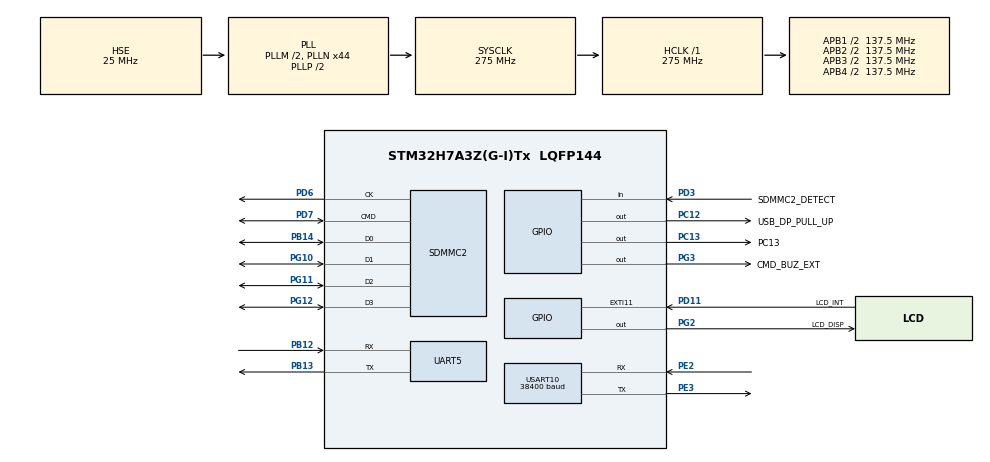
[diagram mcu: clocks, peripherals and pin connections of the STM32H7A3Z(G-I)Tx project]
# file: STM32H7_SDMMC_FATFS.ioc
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Mcu.Family=STM32H7
PD7.Mode=SD_4_bits_Wide_bus
PH0-OSC_IN.Signal=RCC_OSC_IN
VP_SYS_VS_tim6.Mode=TIM6
CORTEX_M7.DisableExec-Cortex_Memory_Protection_Unit_Region4_Settings=MPU_INSTRUCTION_ACCESS_DISABLE
RCC.CortexFreq_Value=275000000
FREERTOS.BinarySemaphores01=myBinarySemAnalog,Dynamic,NULL
FATFS0.BSP.api=Unknown
CORTEX_M7.BaseAddress-Cortex_Memory_Protection_Unit_Region3_Settings=0xC0000000
NVIC.TIM6_DAC_IRQn=true\:0\:0\:false\:false\:true\:false\:false\:true
VP_FATFS_VS_SDIO.Mode=SDIO
PG2.Signal=GPIO_Output
STMicroelectronics.X-CUBE-TOUCHGFX.4.16.1.tgfx_buffering_strategy=Double
PC12.Signal=GPIO_Output
RCC.PLLFRACN=0
CORTEX_M7.AccessPermission-Cortex_Memory_Protection_Unit_Region2_Settings=MPU_REGION_FULL_ACCESS
PC13.GPIO_Label=PC13
PB13.Signal=UART5_TX
PG10.GPIO_PuPd=GPIO_NOPULL
STMicroelectronics.X-CUBE-TOUCHGFX.4.16.1.tgfx_location=By Address
PG11.Signal=SDMMC2_D2
RCC.SYSCLKSource=RCC_SYSCLKSOURCE_PLLCLK
ProjectManager.StackSize=0x1000
VP_FREERTOS_VS_CMSIS_V2.Mode=CMSIS_V2
NVIC.UART5_IRQn=true\:5\:0\:false\:false\:true\:true\:true\:true
PD11.GPIO_PuPd=GPIO_PULLUP
USART10.ClockPrescaler=PRESCALER_DIV1
PD7.GPIO_PuPd=GPIO_NOPULL
PG11.GPIO_PuPd=GPIO_NOPULL
PD11.GPIO_Label=LCD_INT
RCC.HCLKFreq_Value=275000000
PE2.Mode=Asynchronous
PH0-OSC_IN.Mode=HSE-External-Oscillator
FATFS0.BSP.ip=GPIO
NVIC.EXTI15_10_IRQn=true\:5\:0\:false\:false\:true\:true\:true\:true
RCC.HSE_VALUE=25000000
PB3.Mode=JTAG_5_pins
CORTEX_M7.Size-Cortex_Memory_Protection_Unit_Region2_Settings=MPU_REGION_SIZE_128MB
FATFS0.BSP.i2caddr=0
RCC.DIVM3=2
RCC.DIVM2=2
PA15.Mode=JTAG_5_pins
RCC.DIVM1=2
CORTEX_M7.IsCacheable-Cortex_Memory_Protection_Unit_Region2_Settings=MPU_ACCESS_CACHEABLE
PB4.Mode=JTAG_5_pins
PC14-OSC32_IN.Mode=LSE-External-Oscillator
PA14.Mode=JTAG_5_pins
PB14.Mode=SD_4_bits_Wide_bus
STMicroelectronics.X-CUBE-TOUCHGFX.4.16.1.tgfx_display_interface=disp_ltdc
NVIC.USART10_IRQn=true\:5\:0\:false\:false\:true\:true\:true\:true
PE2.Signal=USART10_RX
RCC.PLL2_VCO_SEL-AdvancedSettings=RCC_PLL2VCOMEDIUM
CORTEX_M7.Size-Cortex_Memory_Protection_Unit_Region4_Settings=MPU_REGION_SIZE_16MB
USART10.VirtualMode-Asynchronous=VM_ASYNC
FREERTOS.configTOTAL_HEAP_SIZE=32768
PD11.GPIO_ModeDefaultEXTI=GPIO_MODE_IT_FALLING
CORTEX_M7.DisableExec-Cortex_Memory_Protection_Unit_Region1_Settings=MPU_INSTRUCTION_ACCESS_DISABLE
RCC.APB3Freq_Value=137500000
PH1-OSC_OUT.Mode=HSE-External-Oscillator
Mcu.Package=LQFP144
PB14.GPIO_PuPd=GPIO_NOPULL
PB12.Mode=Asynchronous
NVIC.TimeBase=TIM6_DAC_IRQn
RCC.PLL3FRACN=0
RCC.SDMMC1CLockSelection=RCC_SDMMCCLKSOURCE_PLL2
CORTEX_M7.BaseAddress-Cortex_Memory_Protection_Unit_Region1_Settings=0x90000000
FATFS0.BSP.solution=PD3
STMicroelectronics.X-CUBE-TOUCHGFX.4.16.1.ApplicationCcGraphicsJjApplication=TouchGFXOoGenerator
NVIC.TimeBaseIP=TIM6
PA15.Signal=DEBUG_JTDI
CORTEX_M7.BaseAddress-Cortex_Memory_Protection_Unit_Region4_Settings=0xC0000000
CORTEX_M7.Size-Cortex_Memory_Protection_Unit_Region1_Settings=MPU_REGION_SIZE_1GB
RCC.APB4Freq_Value=137500000
PG12.GPIO_PuPd=GPIO_NOPULL
CORTEX_M7.Enable-Cortex_Memory_Protection_Unit_Region1_Settings=MPU_REGION_ENABLE
PD3.GPIO_Label=SDMMC2_DETECT
PB13.Mode=Asynchronous
PD6.Signal=SDMMC2_CK
USART10.TxPinLevelInvertParam=ADVFEATURE_TXINV_DISABLE
PE3.Mode=Asynchronous
RCC.SRDPPRE=RCC_APB4_DIV2
RCC.SupplySource=PWR_LDO_SUPPLY
STMicroelectronics.X-CUBE-TOUCHGFX.4.16.1.tgfx_vsync=vsync_ltdc
PB4.Signal=DEBUG_JTRST
PG2.GPIO_Label=LCD_DISP
PG12.Signal=SDMMC2_D3
RCC.PLLSourceVirtual=RCC_PLLSOURCE_HSE
PC15-OSC32_OUT.Mode=LSE-External-Oscillator
FATFS0.BSP.STBoard=false
STMicroelectronics.X-CUBE-TOUCHGFX.4.16.1.tgfx_custom_height=480
CORTEX_M7.CPU_ICache=Enabled
FREERTOS.Tasks01=TouchGFXTask,24,4096,TouchGFX_Task,As weak,NULL,Dynamic,NULL,NULL;taskAnalogInput,24,128,StartTaskAnalogInput,Default,NULL,Dynamic,NULL,NULL;taskUSB,24,128,StartTaskUSB,Default,NULL,Dynamic,NULL,NULL;SDMMCTask,8,1024,StartTaskSDMMC,Default,NULL,Dynamic,NULL,NULL
STMicroelectronics.X-CUBE-TOUCHGFX.4.16.1.tgfx_address1=0xC0000000
STMicroelectronics.X-CUBE-TOUCHGFX.4.16.1.tgfx_address2=0xC0119400
PG3.Signal=GPIO_Output
PC13.Signal=GPIO_Output
FATFS0.BSP.mode=Input
CORTEX_M7.IsBufferable-Cortex_Memory_Protection_Unit_Region2_Settings=MPU_ACCESS_BUFFERABLE
PD3.Signal=GPIO_Input
CORTEX_M7.Enable-Cortex_Memory_Protection_Unit_Region4_Settings=MPU_REGION_ENABLE
PG10.Mode=SD_4_bits_Wide_bus
PD7.Signal=SDMMC2_CMD
USART10.RxPinLevelInvertParam=ADVFEATURE_RXINV_DISABLE
PC14-OSC32_IN.Signal=RCC_OSC32_IN
PD6.Mode=SD_4_bits_Wide_bus
CORTEX_M7.BaseAddress-Cortex_Memory_Protection_Unit_Region2_Settings=0x90000000
PG10.Signal=SDMMC2_D1
FATFS0.BSP.instance=PD3
PA13.Signal=DEBUG_JTMS-SWDIO
CORTEX_M7.MPU_Control=MPU_PRIVILEGED_DEFAULT
PG2.PinState=GPIO_PIN_SET
RCC.CDPPRE1=RCC_APB1_DIV2
RCC.CDPPRE2=RCC_APB2_DIV2
CORTEX_M7.IsBufferable-Cortex_Memory_Protection_Unit_Region4_Settings=MPU_ACCESS_BUFFERABLE
STMicroelectronics.X-CUBE-TOUCHGFX.4.16.1.tgfx_hardware_accelerator=dma_2d
ProjectManager.TargetToolchain=STM32CubeIDE
USART10.FIFOMode=FIFOMODE_DISABLE
RCC.DIVN3=44
RCC.DIVN2=16
RCC.DIVN1=44
CORTEX_M7.DisableExec-Cortex_Memory_Protection_Unit_Region3_Settings=MPU_INSTRUCTION_ACCESS_DISABLE
RCC.USBFreq_Value=48000000
PC15-OSC32_OUT.Signal=RCC_OSC32_OUT
PB14.Signal=SDMMC2_D0
FATFS.BSP.number=1
RCC.USBCLockSelection=RCC_USBCLKSOURCE_HSI48
PE2.GPIO_PuPd=GPIO_PULLUP
CORTEX_M7.Enable-Cortex_Memory_Protection_Unit_Region2_Settings=MPU_REGION_ENABLE
board=custom
PG12.Mode=SD_4_bits_Wide_bus
RCC.APB2Freq_Value=137500000
USART10.BaudRate=38400
RCC.FMCCLockSelection=RCC_FMCCLKSOURCE_PLL2
RCC.ADCFreq_Value=100000000
PH1-OSC_OUT.Signal=RCC_OSC_OUT
PE3.GPIO_PuPd=GPIO_PULLUP
RCC.CDPPRE=RCC_APB3_DIV2
PA13.Mode=JTAG_5_pins
Mcu.Name=STM32H7A3Z(G-I)Tx
SDMMC2.ClockDiv=8
USART10.MSBFirstParam=ADVFEATURE_MSBFIRST_DISABLE
FATFS._MAX_SS=4096
PB3.Signal=DEBUG_JTDO-SWO
RCC.SYSCLKFreq_VALUE=275000000
NVIC.SDMMC2_IRQn=true\:5\:0\:false\:false\:true\:true\:true\:true
PD11.Signal=GPXTI11
PC12.GPIO_Label=USB_DP_PULL_UP
RCC.QSPICLockSelection=RCC_OSPICLKSOURCE_PLL2
PG11.Mode=SD_4_bits_Wide_bus
PA14.Signal=DEBUG_JTCK-SWCLK
ProjectManager.HeapSize=0x1000
CORTEX_M7.Enable-Cortex_Memory_Protection_Unit_Region3_Settings=MPU_REGION_ENABLE
CORTEX_M7.Size-Cortex_Memory_Protection_Unit_Region3_Settings=MPU_REGION_SIZE_512MB
CORTEX_M7.DisableExec-Cortex_Memory_Protection_Unit_Region2_Settings=MPU_INSTRUCTION_ACCESS_DISABLE
NVIC.PriorityGroup=NVIC_PRIORITYGROUP_4
RCC.USART234578CLockSelection=RCC_USART234578CLKSOURCE_PLL2
PE3.Signal=USART10_TX
CORTEX_M7.CPU_DCache=Enabled
PG3.GPIO_Label=CMD_BUZ_EXT
RCC.DIVR3=20
RCC.APB1Freq_Value=137500000
RCC.DIVR2=1
VP_CRC_VS_CRC.Mode=CRC_Activate
CORTEX_M7.AccessPermission-Cortex_Memory_Protection_Unit_Region4_Settings=MPU_REGION_FULL_ACCESS
RCC.USART16CLockSelection=RCC_USART16910CLKSOURCE_PLL2
PB12.Signal=UART5_RX
FATFS0.BSP.name=Detect_SDIO
CORTEX_M7.IsCacheable-Cortex_Memory_Protection_Unit_Region4_Settings=MPU_ACCESS_CACHEABLE

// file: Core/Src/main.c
/* USER CODE BEGIN Header */
/**
  ******************************************************************************
  * @file           : main.c
  * @brief          : Main program body
  ******************************************************************************
  * @attention
  *
  * <h2><center>&copy; Copyright (c) 2021 STMicroelectronics.
  * All rights reserved.</center></h2>
  *
  * This software component is licensed by ST under Ultimate Liberty license
  * SLA0044, the "License"; You may not use this file except in compliance with
  * the License. You may obtain a copy of the License at:
  *                             www.st.com/SLA0044
  *
  ******************************************************************************
  */
/* USER CODE END Header */
#include "main.h"
#include "cmsis_os.h"
#include "fatfs.h"

CRC_HandleTypeDef hcrc;

SD_HandleTypeDef hsd2;

UART_HandleTypeDef huart5;
UART_HandleTypeDef huart10;

/* Definitions for TouchGFXTask */
osThreadId_t TouchGFXTaskHandle;
const osThreadAttr_t TouchGFXTask_attributes = {
  .name = "TouchGFXTask",
  .stack_size = 4096 * 4,
  .priority = (osPriority_t) osPriorityNormal,
};
/* Definitions for taskAnalogInput */
osThreadId_t taskAnalogInputHandle;
const osThreadAttr_t taskAnalogInput_attributes = {
  .name = "taskAnalogInput",
  .stack_size = 128 * 4,
  .priority = (osPriority_t) osPriorityNormal,
};
/* Definitions for taskUSB */
osThreadId_t taskUSBHandle;
const osThreadAttr_t taskUSB_attributes = {
  .name = "taskUSB",
  .stack_size = 128 * 4,
  .priority = (osPriority_t) osPriorityNormal,
};
/* Definitions for SDMMCTask */
osThreadId_t SDMMCTaskHandle;
const osThreadAttr_t SDMMCTask_attributes = {
  .name = "SDMMCTask",
  .stack_size = 1024 * 4,
  .priority = (osPriority_t) osPriorityLow,
};
/* Definitions for myBinarySemAnalog */
osSemaphoreId_t myBinarySemAnalogHandle;
const osSemaphoreAttr_t myBinarySemAnalog_attributes = {
  .name = "myBinarySemAnalog"
};

void SystemClock_Config(void);
void PeriphCommonClock_Config(void);
static void MPU_Config(void);
static void MX_GPIO_Init(void);
static void MX_CRC_Init(void);
static void MX_UART5_Init(void);
static void MX_USART10_UART_Init(void);
static void MX_SDMMC2_SD_Init(void);
void TouchGFX_Task(void *argument);
void StartTaskAnalogInput(void *argument);
void StartTaskUSB(void *argument);
void StartTaskSDMMC(void *argument);

int main(void)
{

  /* MPU Configuration--------------------------------------------------------*/
  MPU_Config();

  /* Enable I-Cache---------------------------------------------------------*/
  SCB_EnableICache();

  /* Enable D-Cache---------------------------------------------------------*/
  SCB_EnableDCache();

  /* MCU Configuration--------------------------------------------------------*/

  /* Reset of all peripherals, Initializes the Flash interface and the Systick. */
  HAL_Init();

  /* Configure the system clock */
  SystemClock_Config();

/* Configure the peripherals common clocks */
  PeriphCommonClock_Config();

  /* Initialize all configured peripherals */
  MX_GPIO_Init();
  MX_CRC_Init();
  MX_UART5_Init();
  MX_USART10_UART_Init();
  MX_SDMMC2_SD_Init();
  MX_FATFS_Init();

  /* Init scheduler */
  osKernelInitialize();

  /* Create the semaphores(s) */
  /* creation of myBinarySemAnalog */
  myBinarySemAnalogHandle = osSemaphoreNew(1, 1, &myBinarySemAnalog_attributes);

  /* Create the thread(s) */
  /* creation of TouchGFXTask */
  TouchGFXTaskHandle = osThreadNew(TouchGFX_Task, NULL, &TouchGFXTask_attributes);

  /* creation of taskAnalogInput */
  taskAnalogInputHandle = osThreadNew(StartTaskAnalogInput, NULL, &taskAnalogInput_attributes);

  /* creation of taskUSB */
  taskUSBHandle = osThreadNew(StartTaskUSB, NULL, &taskUSB_attributes);

  /* creation of SDMMCTask */
  SDMMCTaskHandle = osThreadNew(StartTaskSDMMC, NULL, &SDMMCTask_attributes);

  /* Start scheduler */
  osKernelStart();

  /* We should never get here as control is now taken by the scheduler */
  /* Infinite loop */
  while (1)
  {

  }
}

void SystemClock_Config(void)
{
  RCC_OscInitTypeDef RCC_OscInitStruct = {0};
  RCC_ClkInitTypeDef RCC_ClkInitStruct = {0};

  /** Supply configuration update enable
  */
  HAL_PWREx_ConfigSupply(PWR_LDO_SUPPLY);
  /** Configure the main internal regulator output voltage
  */
  __HAL_PWR_VOLTAGESCALING_CONFIG(PWR_REGULATOR_VOLTAGE_SCALE0);

  while(!__HAL_PWR_GET_FLAG(PWR_FLAG_VOSRDY)) {}
  /** Macro to configure the PLL clock source
  */
  __HAL_RCC_PLL_PLLSOURCE_CONFIG(RCC_PLLSOURCE_HSE);
  /** Initializes the RCC Oscillators according to the specified parameters
  * in the RCC_OscInitTypeDef structure.
  */
  RCC_OscInitStruct.OscillatorType = RCC_OSCILLATORTYPE_HSE;
  RCC_OscInitStruct.HSEState = RCC_HSE_ON;
  RCC_OscInitStruct.PLL.PLLState = RCC_PLL_ON;
  RCC_OscInitStruct.PLL.PLLSource = RCC_PLLSOURCE_HSE;
  RCC_OscInitStruct.PLL.PLLM = 2;
  RCC_OscInitStruct.PLL.PLLN = 44;
  RCC_OscInitStruct.PLL.PLLP = 2;
  RCC_OscInitStruct.PLL.PLLQ = 2;
  RCC_OscInitStruct.PLL.PLLR = 2;
  RCC_OscInitStruct.PLL.PLLRGE = RCC_PLL1VCIRANGE_3;
  RCC_OscInitStruct.PLL.PLLVCOSEL = RCC_PLL1VCOWIDE;
  RCC_OscInitStruct.PLL.PLLFRACN = 0;
  if (HAL_RCC_OscConfig(&RCC_OscInitStruct) != HAL_OK)
  {
    Error_Handler();
  }
  /** Initializes the CPU, AHB and APB buses clocks
  */
  RCC_ClkInitStruct.ClockType = RCC_CLOCKTYPE_HCLK|RCC_CLOCKTYPE_SYSCLK
                              |RCC_CLOCKTYPE_PCLK1|RCC_CLOCKTYPE_PCLK2
                              |RCC_CLOCKTYPE_D3PCLK1|RCC_CLOCKTYPE_D1PCLK1;
  RCC_ClkInitStruct.SYSCLKSource = RCC_SYSCLKSOURCE_PLLCLK;
  RCC_ClkInitStruct.SYSCLKDivider = RCC_SYSCLK_DIV1;
  RCC_ClkInitStruct.AHBCLKDivider = RCC_HCLK_DIV1;
  RCC_ClkInitStruct.APB3CLKDivider = RCC_APB3_DIV2;
  RCC_ClkInitStruct.APB1CLKDivider = RCC_APB1_DIV2;
  RCC_ClkInitStruct.APB2CLKDivider = RCC_APB2_DIV2;
  RCC_ClkInitStruct.APB4CLKDivider = RCC_APB4_DIV2;

  if (HAL_RCC_ClockConfig(&RCC_ClkInitStruct, FLASH_LATENCY_7) != HAL_OK)
  {
    Error_Handler();
  }
}

void PeriphCommonClock_Config(void)
{
  RCC_PeriphCLKInitTypeDef PeriphClkInitStruct = {0};

  /** Initializes the peripherals clock
  */
  PeriphClkInitStruct.PeriphClockSelection = RCC_PERIPHCLK_SDMMC|RCC_PERIPHCLK_UART5
                              |RCC_PERIPHCLK_USART10;
  PeriphClkInitStruct.PLL2.PLL2M = 2;
  PeriphClkInitStruct.PLL2.PLL2N = 16;
  PeriphClkInitStruct.PLL2.PLL2P = 2;
  PeriphClkInitStruct.PLL2.PLL2Q = 2;
  PeriphClkInitStruct.PLL2.PLL2R = 1;
  PeriphClkInitStruct.PLL2.PLL2RGE = RCC_PLL2VCIRANGE_3;
  PeriphClkInitStruct.PLL2.PLL2VCOSEL = RCC_PLL2VCOWIDE;
  PeriphClkInitStruct.PLL2.PLL2FRACN = 0;
  PeriphClkInitStruct.SdmmcClockSelection = RCC_SDMMCCLKSOURCE_PLL2;
  PeriphClkInitStruct.Usart234578ClockSelection = RCC_USART234578CLKSOURCE_PLL2;
  PeriphClkInitStruct.Usart16ClockSelection = RCC_USART16910CLKSOURCE_PLL2;
  if (HAL_RCCEx_PeriphCLKConfig(&PeriphClkInitStruct) != HAL_OK)
  {
    Error_Handler();
  }
}

static void MX_CRC_Init(void)
{

  hcrc.Instance = CRC;
  hcrc.Init.DefaultPolynomialUse = DEFAULT_POLYNOMIAL_ENABLE;
  hcrc.Init.DefaultInitValueUse = DEFAULT_INIT_VALUE_ENABLE;
  hcrc.Init.InputDataInversionMode = CRC_INPUTDATA_INVERSION_NONE;
  hcrc.Init.OutputDataInversionMode = CRC_OUTPUTDATA_INVERSION_DISABLE;
  hcrc.InputDataFormat = CRC_INPUTDATA_FORMAT_BYTES;
  if (HAL_CRC_Init(&hcrc) != HAL_OK)
  {
    Error_Handler();
  }

}

static void MX_SDMMC2_SD_Init(void)
{

  hsd2.Instance = SDMMC2;
  hsd2.Init.ClockEdge = SDMMC_CLOCK_EDGE_RISING;
  hsd2.Init.ClockPowerSave = SDMMC_CLOCK_POWER_SAVE_DISABLE;
  hsd2.Init.BusWide = SDMMC_BUS_WIDE_4B;
  hsd2.Init.HardwareFlowControl = SDMMC_HARDWARE_FLOW_CONTROL_DISABLE;
  hsd2.Init.ClockDiv = 8;
  hsd2.Init.TranceiverPresent = SDMMC_TRANSCEIVER_NOT_PRESENT;

}

static void MX_UART5_Init(void)
{

  huart5.Instance = UART5;
  huart5.Init.BaudRate = 115200;
  huart5.Init.WordLength = UART_WORDLENGTH_8B;
  huart5.Init.StopBits = UART_STOPBITS_1;
  huart5.Init.Parity = UART_PARITY_NONE;
  huart5.Init.Mode = UART_MODE_TX_RX;
  huart5.Init.HwFlowCtl = UART_HWCONTROL_NONE;
  huart5.Init.OverSampling = UART_OVERSAMPLING_16;
  huart5.Init.OneBitSampling = UART_ONE_BIT_SAMPLE_DISABLE;
  huart5.Init.ClockPrescaler = UART_PRESCALER_DIV1;
  huart5.AdvancedInit.AdvFeatureInit = UART_ADVFEATURE_NO_INIT;
  if (HAL_UART_Init(&huart5) != HAL_OK)
  {
    Error_Handler();
  }
  if (HAL_UARTEx_SetTxFifoThreshold(&huart5, UART_TXFIFO_THRESHOLD_1_8) != HAL_OK)
  {
    Error_Handler();
  }
  if (HAL_UARTEx_SetRxFifoThreshold(&huart5, UART_RXFIFO_THRESHOLD_1_8) != HAL_OK)
  {
    Error_Handler();
  }
  if (HAL_UARTEx_DisableFifoMode(&huart5) != HAL_OK)
  {
    Error_Handler();
  }

}

static void MX_USART10_UART_Init(void)
{

  huart10.Instance = USART10;
  huart10.Init.BaudRate = 38400;
  huart10.Init.WordLength = UART_WORDLENGTH_8B;
  huart10.Init.StopBits = UART_STOPBITS_1;
  huart10.Init.Parity = UART_PARITY_NONE;
  huart10.Init.Mode = UART_MODE_TX_RX;
  huart10.Init.HwFlowCtl = UART_HWCONTROL_NONE;
  huart10.Init.OverSampling = UART_OVERSAMPLING_16;
  huart10.Init.OneBitSampling = UART_ONE_BIT_SAMPLE_DISABLE;
  huart10.Init.ClockPrescaler = UART_PRESCALER_DIV1;
  huart10.AdvancedInit.AdvFeatureInit = UART_ADVFEATURE_NO_INIT;
  if (HAL_UART_Init(&huart10) != HAL_OK)
  {
    Error_Handler();
  }
  if (HAL_UARTEx_SetTxFifoThreshold(&huart10, UART_TXFIFO_THRESHOLD_1_8) != HAL_OK)
  {
    Error_Handler();
  }
  if (HAL_UARTEx_SetRxFifoThreshold(&huart10, UART_RXFIFO_THRESHOLD_1_8) != HAL_OK)
  {
    Error_Handler();
  }
  if (HAL_UARTEx_DisableFifoMode(&huart10) != HAL_OK)
  {
    Error_Handler();
  }

}

static void MX_GPIO_Init(void)
{
  GPIO_InitTypeDef GPIO_InitStruct = {0};

  /* GPIO Ports Clock Enable */
  __HAL_RCC_GPIOE_CLK_ENABLE();
  __HAL_RCC_GPIOC_CLK_ENABLE();
  __HAL_RCC_GPIOH_CLK_ENABLE();
  __HAL_RCC_GPIOB_CLK_ENABLE();
  __HAL_RCC_GPIOD_CLK_ENABLE();
  __HAL_RCC_GPIOG_CLK_ENABLE();
  __HAL_RCC_GPIOA_CLK_ENABLE();

  /*Configure GPIO pin Output Level */
  HAL_GPIO_WritePin(GPIOC, PC13_Pin|USB_DP_PULL_UP_Pin, GPIO_PIN_RESET);

  /*Configure GPIO pin Output Level */
  HAL_GPIO_WritePin(LCD_DISP_GPIO_Port, LCD_DISP_Pin, GPIO_PIN_SET);

  /*Configure GPIO pin Output Level */
  HAL_GPIO_WritePin(CMD_BUZ_EXT_GPIO_Port, CMD_BUZ_EXT_Pin, GPIO_PIN_RESET);

  /*Configure GPIO pins : PC13_Pin USB_DP_PULL_UP_Pin */
  GPIO_InitStruct.Pin = PC13_Pin|USB_DP_PULL_UP_Pin;
  GPIO_InitStruct.Mode = GPIO_MODE_OUTPUT_PP;
  GPIO_InitStruct.Pull = GPIO_NOPULL;
  GPIO_InitStruct.Speed = GPIO_SPEED_FREQ_LOW;
  HAL_GPIO_Init(GPIOC, &GPIO_InitStruct);

  /*Configure GPIO pin : LCD_INT_Pin */
  GPIO_InitStruct.Pin = LCD_INT_Pin;
  GPIO_InitStruct.Mode = GPIO_MODE_IT_FALLING;
  GPIO_InitStruct.Pull = GPIO_PULLUP;
  HAL_GPIO_Init(LCD_INT_GPIO_Port, &GPIO_InitStruct);

  /*Configure GPIO pins : LCD_DISP_Pin CMD_BUZ_EXT_Pin */
  GPIO_InitStruct.Pin = LCD_DISP_Pin|CMD_BUZ_EXT_Pin;
  GPIO_InitStruct.Mode = GPIO_MODE_OUTPUT_PP;
  GPIO_InitStruct.Pull = GPIO_NOPULL;
  GPIO_InitStruct.Speed = GPIO_SPEED_FREQ_LOW;
  HAL_GPIO_Init(GPIOG, &GPIO_InitStruct);

  /*Configure GPIO pin : SDMMC2_DETECT_Pin */
  GPIO_InitStruct.Pin = SDMMC2_DETECT_Pin;
  GPIO_InitStruct.Mode = GPIO_MODE_INPUT;
  GPIO_InitStruct.Pull = GPIO_NOPULL;
  HAL_GPIO_Init(SDMMC2_DETECT_GPIO_Port, &GPIO_InitStruct);

  /* EXTI interrupt init*/
  HAL_NVIC_SetPriority(EXTI15_10_IRQn, 5, 0);
  HAL_NVIC_EnableIRQ(EXTI15_10_IRQn);

}

/* USER CODE BEGIN 4 */
uint8_t BSP_SD_IsDetected(void)
{
  __IO uint8_t status = SD_PRESENT;

  if (BSP_PlatformIsDetected() != 0x0)
  {
    status = SD_NOT_PRESENT;
  }

  return status;
}
/* USER CODE END 4 */

__weak void TouchGFX_Task(void *argument)
{
  for(;;)
  {
    osDelay(1);
  }
}

void StartTaskAnalogInput(void *argument)
{
  for(;;)
  {
    osDelay(1);
  }
}

void StartTaskUSB(void *argument)
{
  for(;;)
  {
    osDelay(1);
  }
}

void StartTaskSDMMC(void *argument)
{
  /* USER CODE BEGIN StartTaskSDMMC */
	FRESULT res; /* FatFs function common result code */
	uint32_t byteswritten, bytesread; /* File write/read counts */
	uint8_t wtext[] = "STM32 FATFS works great!"; /* File write buffer */
	uint8_t rtext[_MAX_SS];/* File read buffer */
  /* Infinite loop */
  for(;;)
  {
	  if(f_mount(&SDFatFS, (TCHAR const*)SDPath, 0) != FR_OK)
	        {
	            Error_Handler();
	        }
	        else
	        {
	      	  int ret = f_mkfs((TCHAR const*)SDPath, FM_ANY, 0, rtext, sizeof(rtext));
	            if(ret != FR_OK)
	            {
	                Error_Handler();
	            }
	            else
	            {
	                //Open file for writing (Create)
	                if(f_open(&SDFile, "STM32.TXT", FA_CREATE_ALWAYS | FA_WRITE) != FR_OK)
	                {
	                    Error_Handler();
	                }
	                else
	                {
	                    //Write to the text file
	                    res = f_write(&SDFile, wtext, strlen((char *)wtext), (void *)&byteswritten);
	                    if((byteswritten == 0) || (res != FR_OK))
	                    {
	                        Error_Handler();
	                    }
	                    else
	                    {
	                        f_close(&SDFile);
	                    }
	                }
	            }
	        }
	        f_mount(&SDFatFS, (TCHAR const*)NULL, 0);

    osDelay(1000);
  }
  /* USER CODE END StartTaskSDMMC */
}

/* MPU Configuration */

void MPU_Config(void)
{
  MPU_Region_InitTypeDef MPU_InitStruct = {0};

  /* Disables the MPU */
  HAL_MPU_Disable();
  /** Initializes and configures the Region and the memory to be protected
  */
  MPU_InitStruct.Enable = MPU_REGION_ENABLE;
  MPU_InitStruct.Number = MPU_REGION_NUMBER1;
  MPU_InitStruct.BaseAddress = 0x90000000;
  MPU_InitStruct.Size = MPU_REGION_SIZE_1GB;
  MPU_InitStruct.SubRegionDisable = 0x0;
  MPU_InitStruct.TypeExtField = MPU_TEX_LEVEL0;
  MPU_InitStruct.AccessPermission = MPU_REGION_NO_ACCESS;
  MPU_InitStruct.DisableExec = MPU_INSTRUCTION_ACCESS_DISABLE;
  MPU_InitStruct.IsShareable = MPU_ACCESS_NOT_SHAREABLE;
  MPU_InitStruct.IsCacheable = MPU_ACCESS_NOT_CACHEABLE;
  MPU_InitStruct.IsBufferable = MPU_ACCESS_NOT_BUFFERABLE;

  HAL_MPU_ConfigRegion(&MPU_InitStruct);
  /** Initializes and configures the Region and the memory to be protected
  */
  MPU_InitStruct.Number = MPU_REGION_NUMBER2;
  MPU_InitStruct.Size = MPU_REGION_SIZE_128MB;
  MPU_InitStruct.AccessPermission = MPU_REGION_FULL_ACCESS;
  MPU_InitStruct.IsCacheable = MPU_ACCESS_CACHEABLE;
  MPU_InitStruct.IsBufferable = MPU_ACCESS_BUFFERABLE;

  HAL_MPU_ConfigRegion(&MPU_InitStruct);
  /** Initializes and configures the Region and the memory to be protected
  */
  MPU_InitStruct.Number = MPU_REGION_NUMBER3;
  MPU_InitStruct.BaseAddress = 0xC0000000;
  MPU_InitStruct.Size = MPU_REGION_SIZE_512MB;
  MPU_InitStruct.AccessPermission = MPU_REGION_NO_ACCESS;
  MPU_InitStruct.IsCacheable = MPU_ACCESS_NOT_CACHEABLE;
  MPU_InitStruct.IsBufferable = MPU_ACCESS_NOT_BUFFERABLE;

  HAL_MPU_ConfigRegion(&MPU_InitStruct);
  /** Initializes and configures the Region and the memory to be protected
  */
  MPU_InitStruct.Number = MPU_REGION_NUMBER4;
  MPU_InitStruct.Size = MPU_REGION_SIZE_16MB;
  MPU_InitStruct.AccessPermission = MPU_REGION_FULL_ACCESS;
  MPU_InitStruct.IsCacheable = MPU_ACCESS_CACHEABLE;
  MPU_InitStruct.IsBufferable = MPU_ACCESS_BUFFERABLE;

  HAL_MPU_ConfigRegion(&MPU_InitStruct);
  /* Enables the MPU */
  HAL_MPU_Enable(MPU_PRIVILEGED_DEFAULT);

}
void HAL_TIM_PeriodElapsedCallback(TIM_HandleTypeDef *htim)
{
  if (htim->Instance == TIM6) {
    HAL_IncTick();
  }
}

void Error_Handler(void)
{
  __disable_irq();
  while (1)
  {
  }
}

/************************ (C) COPYRIGHT STMicroelectronics *****END OF FILE****/
